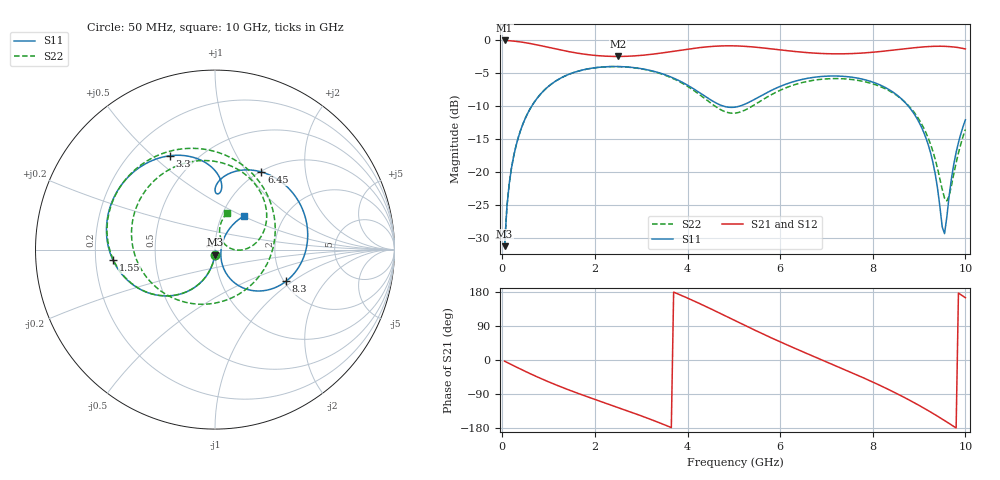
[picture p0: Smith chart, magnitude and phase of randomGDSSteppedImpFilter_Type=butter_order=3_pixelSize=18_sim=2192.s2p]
! freq	dB(S11)	phase(S11)	dB(S12)	phase(S12)
!  dB(S21)	phase(S21)	dB(S22)	phase(S22)
!S-par simulation data
#  GHz  S  DB  R 50
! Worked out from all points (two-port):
!   200 points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, 50 MHz to 10 GHz, reference 50 ohm
!   highest |S21| = -0.01 dB at 50 MHz (marker M1); lowest = -2.4 dB at 2.5 GHz (marker M2)
!   |S21| within 3 dB of the highest: start of sweep to end of sweep
!   lowest |S11| = -31.2 dB at 50 MHz (marker M3), VSWR 1.06, Z = 49.8 - j2.75 ohm
!   |S11| at or under -10 dB: start of sweep to 632.4 MHz; 4.796 GHz to 5.103 GHz (306.6 MHz wide, 6.19 % of centre); 8.772 GHz to end of sweep
!   |S22| runs from -31.2 to -4.0 dB; largest |S21 - S12| = 0
!   S11 on the Smith chart (normalised r, x): 50 MHz: 1.00, -0.05; 1.55 GHz: 0.27, -0.05; 3.3 GHz: 0.36, +0.57; 6.45 GHz: 1.01, +1.17; 8.3 GHz: 2.06, -0.89; 10 GHz: 1.28, +0.51
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0.05  -31.18 -93.2  -0.01 -3.1  -0.01 -3.1  -31.18 -93.2
0.1  -25.19 -96.5  -0.02 -6.2  -0.02 -6.2  -25.19 -96.5
0.2  -19.27 -102.8  -0.07 -12.3  -0.07 -12.3  -19.26 -102.8
0.45  -12.58 -117.7  -0.29 -27.3  -0.29 -27.3  -12.58 -117.8
0.95  -7.25 -145.5  -0.98 -55.0  -0.98 -55.0  -7.25 -145.7
1.55  -4.85 -174.3  -1.84 -84.2  -1.84 -84.2  -4.85 -175.1
1.75  -4.46 176.9  -2.06 -93.2  -2.06 -93.2  -4.46 175.7
2.5  -3.96 146.3  -2.43 -125.5  -2.43 -125.5  -3.97 141.9
3.3  -4.73 115.6  -2.04 -161.2  -2.04 -161.2  -4.78 101.9
3.4  -4.94 111.9  -1.95 -166.0  -1.95 -166.0  -4.99 96.2
4.3  -8.10 85.7  -1.06 146.7  -1.06 146.7  -8.43 29.7
5.05  -10.08 88.6  -0.83 102.5  -0.83 102.5  -10.99 -63.2
5.65  -8.15 85.7  -1.15 67.5  -1.15 67.5  -8.87 -132.6
6.45  -5.95 59.2  -1.77 23.8  -1.77 23.8  -6.43 167.2
6.7  -5.62 48.9  -1.91 10.7  -1.91 10.7  -6.07 151.8
7.55  -5.58 11.3  -2.00 -33.6  -2.00 -33.6  -5.93 102.5
8.3  -7.25 -23.8  -1.58 -75.4  -1.58 -75.4  -7.43 57.6
8.35  -7.45 -26.2  -1.54 -78.4  -1.54 -78.4  -7.61 54.5
9.15  -14.82 -62.6  -0.95 -130.2  -0.95 -130.2  -14.01 4.4
9.55  -29.28 4.1  -0.89 -159.7  -0.89 -159.7  -23.90 23.8
9.75  -18.74 55.1  -1.00 -175.4  -1.00 -175.4  -20.21 74.7
10  -12.04 49.0  -1.29 164.3  -1.29 164.3  -13.49 71.9
